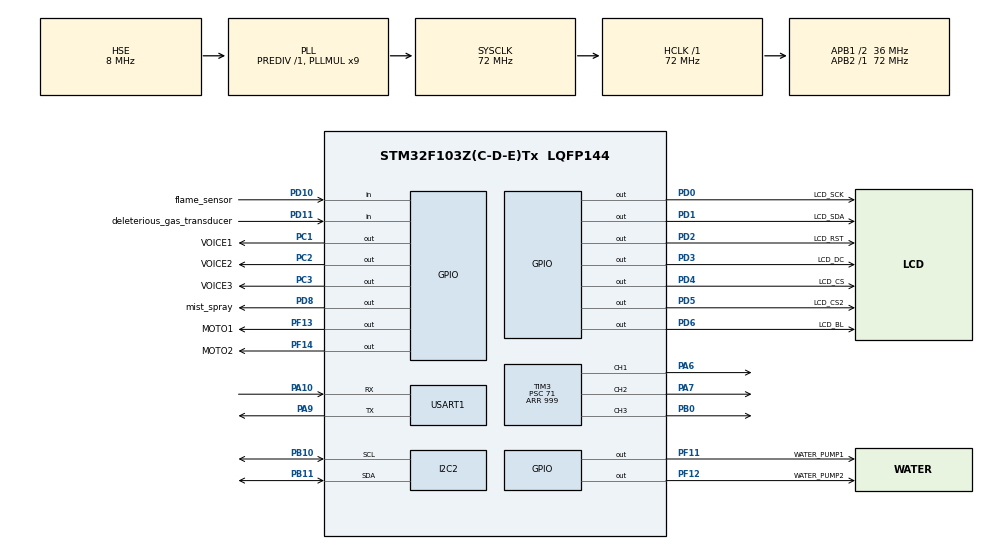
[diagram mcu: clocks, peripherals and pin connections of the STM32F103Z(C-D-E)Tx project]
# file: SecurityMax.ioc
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Mcu.Family=STM32F1
Mcu.Name=STM32F103Z(C-D-E)Tx
Mcu.Package=LQFP144
NVIC.PriorityGroup=NVIC_PRIORITYGROUP_4
NVIC.TIM4_IRQn=true\:0\:0\:false\:false\:true\:true\:true\:true
OSC_IN.Mode=HSE-External-Oscillator
OSC_IN.Signal=RCC_OSC_IN
OSC_OUT.Mode=HSE-External-Oscillator
OSC_OUT.Signal=RCC_OSC_OUT
PA10.Mode=Asynchronous
PA10.Signal=USART1_RX
PA13.Mode=Serial_Wire
PA13.Signal=SYS_JTMS-SWDIO
PA14.Mode=Serial_Wire
PA14.Signal=SYS_JTCK-SWCLK
PA6.Signal=S_TIM3_CH1
PA7.Signal=S_TIM3_CH2
PA9.Mode=Asynchronous
PA9.Signal=USART1_TX
PB0.Signal=S_TIM3_CH3
PB10.Mode=I2C
PB10.Signal=I2C2_SCL
PB11.Mode=I2C
PB11.Signal=I2C2_SDA
PC1.GPIO_Label=VOICE1
PC1.GPIO_PuPd=GPIO_PULLUP
PC1.PinState=GPIO_PIN_SET
PC1.Signal=GPIO_Output
PC2.GPIO_Label=VOICE2
PC2.GPIO_PuPd=GPIO_PULLUP
PC2.PinState=GPIO_PIN_SET
PC2.Signal=GPIO_Output
PC3.GPIO_Label=VOICE3
PC3.GPIO_PuPd=GPIO_PULLUP
PC3.GPIO_Speed=GPIO_SPEED_FREQ_LOW
PC3.PinState=GPIO_PIN_SET
PC3.Signal=GPIO_Output
PD0.GPIO_Label=LCD_SCK
PD0.GPIO_Speed=GPIO_SPEED_FREQ_HIGH
PD0.Signal=GPIO_Output
PD1.GPIO_Label=LCD_SDA
PD1.GPIO_Speed=GPIO_SPEED_FREQ_HIGH
PD1.Signal=GPIO_Output
PD10.GPIO_Label=flame_sensor
PD10.GPIO_PuPd=GPIO_PULLUP
PD10.Signal=GPIO_Input
PD11.GPIO_Label=deleterious_gas_transducer
PD11.GPIO_PuPd=GPIO_PULLUP
PD11.Signal=GPIO_Input
PD2.GPIO_Label=LCD_RST
PD2.GPIO_Speed=GPIO_SPEED_FREQ_HIGH
PD2.Signal=GPIO_Output
PD3.GPIO_Label=LCD_DC
PD3.GPIO_Speed=GPIO_SPEED_FREQ_HIGH
PD3.Signal=GPIO_Output
PD4.GPIO_Label=LCD_CS
PD4.GPIO_Speed=GPIO_SPEED_FREQ_HIGH
PD4.Signal=GPIO_Output
PD5.GPIO_Label=LCD_CS2
PD5.GPIO_Speed=GPIO_SPEED_FREQ_HIGH
PD5.Signal=GPIO_Output
PD6.GPIO_Label=LCD_BL
PD6.GPIO_Speed=GPIO_SPEED_FREQ_HIGH
PD6.Signal=GPIO_Output
PD8.GPIO_Label=mist_spray
PD8.GPIO_PuPd=GPIO_PULLDOWN
PD8.PinState=GPIO_PIN_RESET
PD8.Signal=GPIO_Output
PF11.GPIO_Label=WATER_PUMP1
PF11.GPIO_PuPd=GPIO_PULLDOWN
PF11.Signal=GPIO_Output
PF12.GPIO_Label=WATER_PUMP2
PF12.GPIO_PuPd=GPIO_PULLDOWN
PF12.Signal=GPIO_Output
PF13.GPIO_Label=MOTO1
PF13.GPIO_PuPd=GPIO_PULLDOWN
PF13.Signal=GPIO_Output
PF14.GPIO_Label=MOTO2
PF14.GPIO_PuPd=GPIO_PULLDOWN
PF14.Signal=GPIO_Output
ProjectManager.HeapSize=0x200
ProjectManager.StackSize=0x400
ProjectManager.TargetToolchain=MDK-ARM V5
RCC.AHBFreq_Value=72000000
RCC.APB1CLKDivider=RCC_HCLK_DIV2
RCC.APB1Freq_Value=36000000
RCC.APB1TimFreq_Value=72000000
RCC.APB2Freq_Value=72000000
RCC.APB2TimFreq_Value=72000000
RCC.HCLKFreq_Value=72000000
RCC.PLLMUL=RCC_PLL_MUL9
RCC.PLLSourceVirtual=RCC_PLLSOURCE_HSE
RCC.SYSCLKFreq_VALUE=72000000
RCC.SYSCLKSource=RCC_SYSCLKSOURCE_PLLCLK
RCC.USBFreq_Value=72000000
SH.S_TIM3_CH1.0=TIM3_CH1,PWM Generation1 CH1
SH.S_TIM3_CH2.0=TIM3_CH2,PWM Generation2 CH2
SH.S_TIM3_CH3.0=TIM3_CH3,PWM Generation3 CH3
TIM3.Channel-PWM\ Generation1\ CH1=TIM_CHANNEL_1
TIM3.Channel-PWM\ Generation2\ CH2=TIM_CHANNEL_2
TIM3.Channel-PWM\ Generation3\ CH3=TIM_CHANNEL_3
TIM3.Period=999
TIM3.Prescaler=71
TIM4.Period=9999
TIM4.Prescaler=7199
USART1.VirtualMode=VM_ASYNC
VP_TIM4_VS_ClockSourceINT.Mode=Internal
board=custom

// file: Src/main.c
/* USER CODE BEGIN Header */
/**
  ******************************************************************************
  * @file           : main.c
  * @brief          : Main program body
  ******************************************************************************
  * @attention
  *
  * Copyright (c) 2023 STMicroelectronics.
  * All rights reserved.
  *
  * This software is licensed under terms that can be found in the LICENSE file
  * in the root directory of this software component.
  * If no LICENSE file comes with this software, it is provided AS-IS.
  *
  ******************************************************************************
  */
/* USER CODE END Header */
#include "main.h"
#include "i2c.h"
#include "tim.h"
#include "usart.h"
#include "gpio.h"

/* USER CODE BEGIN Includes */
#include "sht30.h"
#include "moto.h"
#include "lcd.h"
#include "judge.h"
/* USER CODE END Includes */

/* USER CODE BEGIN PD */
float temperature, humidity;
int temp1,humi1;
/* USER CODE END PD */

void SystemClock_Config(void);

int main(void)
{

  /* MCU Configuration--------------------------------------------------------*/

  /* Reset of all peripherals, Initializes the Flash interface and the Systick. */
  HAL_Init();

  /* Configure the system clock */
  SystemClock_Config();

  /* Initialize all configured peripherals */
  MX_GPIO_Init();
  MX_I2C2_Init();
  MX_TIM3_Init();
  MX_USART1_UART_Init();
  MX_TIM4_Init();
  /* USER CODE BEGIN 2 */
	HAL_TIM_Base_Start_IT(&htim4);
  HAL_TIM_PWM_Start(&htim3,TIM_CHANNEL_1);
  HAL_TIM_PWM_Start(&htim3,TIM_CHANNEL_2);
  LCD_12864_Init();
  /* USER CODE END 2 */

  /* Infinite loop */
  /* USER CODE BEGIN WHILE */
  while (1)
  {
	  SHT30_SampleData(&temperature, &humidity);//sht30传感器数据处理
		temp1=temperature;
		humi1=humidity;

		Temperature_Data_Output(temp1);//在lcd屏输出温度
		Humidity_Data_Output(humi1);//在lcd屏输出湿度

		Mist_Spray();//喷雾加湿器
		Flame_Alarm();//感应到火焰，电机、水泵运动
    /* USER CODE END WHILE */

  }
}

void SystemClock_Config(void)
{
  RCC_OscInitTypeDef RCC_OscInitStruct = {0};
  RCC_ClkInitTypeDef RCC_ClkInitStruct = {0};

  /** Initializes the RCC Oscillators according to the specified parameters
  * in the RCC_OscInitTypeDef structure.
  */
  RCC_OscInitStruct.OscillatorType = RCC_OSCILLATORTYPE_HSE;
  RCC_OscInitStruct.HSEState = RCC_HSE_ON;
  RCC_OscInitStruct.HSEPredivValue = RCC_HSE_PREDIV_DIV1;
  RCC_OscInitStruct.HSIState = RCC_HSI_ON;
  RCC_OscInitStruct.PLL.PLLState = RCC_PLL_ON;
  RCC_OscInitStruct.PLL.PLLSource = RCC_PLLSOURCE_HSE;
  RCC_OscInitStruct.PLL.PLLMUL = RCC_PLL_MUL9;
  if (HAL_RCC_OscConfig(&RCC_OscInitStruct) != HAL_OK)
  {
    Error_Handler();
  }

  /** Initializes the CPU, AHB and APB buses clocks
  */
  RCC_ClkInitStruct.ClockType = RCC_CLOCKTYPE_HCLK|RCC_CLOCKTYPE_SYSCLK
                              |RCC_CLOCKTYPE_PCLK1|RCC_CLOCKTYPE_PCLK2;
  RCC_ClkInitStruct.SYSCLKSource = RCC_SYSCLKSOURCE_PLLCLK;
  RCC_ClkInitStruct.AHBCLKDivider = RCC_SYSCLK_DIV1;
  RCC_ClkInitStruct.APB1CLKDivider = RCC_HCLK_DIV2;
  RCC_ClkInitStruct.APB2CLKDivider = RCC_HCLK_DIV1;

  if (HAL_RCC_ClockConfig(&RCC_ClkInitStruct, FLASH_LATENCY_2) != HAL_OK)
  {
    Error_Handler();
  }
}

void Error_Handler(void)
{
  __disable_irq();
  while (1)
  {
  }
}
